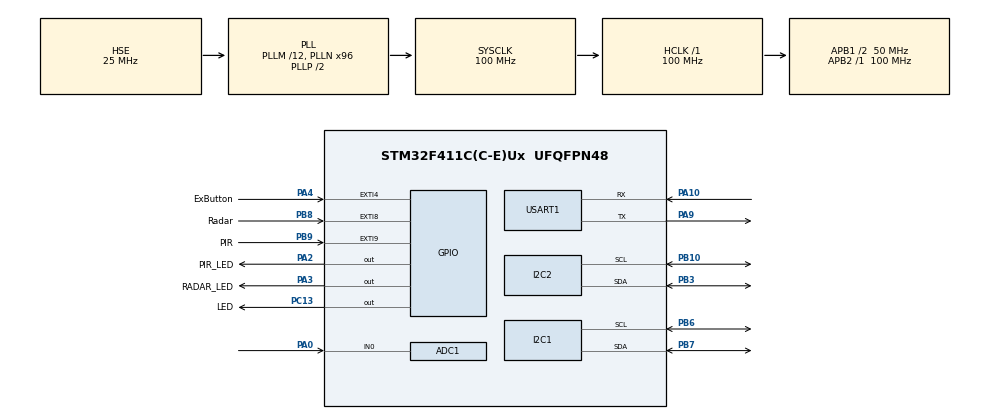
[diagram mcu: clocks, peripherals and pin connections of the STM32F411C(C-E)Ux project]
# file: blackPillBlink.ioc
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ADC1.Channel-0\#ChannelRegularConversion=ADC_CHANNEL_0
ADC1.ContinuousConvMode=DISABLE
ADC1.DMAContinuousRequests=ENABLE
ADC1.ExternalTrigConv=ADC_EXTERNALTRIGCONV_T2_TRGO
ADC1.NbrOfConversionFlag=1
ADC1.Rank-0\#ChannelRegularConversion=1
ADC1.SamplingTime-0\#ChannelRegularConversion=ADC_SAMPLETIME_3CYCLES
ADC1.ScanConvMode=DISABLE
ADC1.master=1
Dma.ADC1.0.Direction=DMA_PERIPH_TO_MEMORY
Dma.ADC1.0.FIFOMode=DMA_FIFOMODE_DISABLE
Dma.ADC1.0.Instance=DMA2_Stream0
Dma.ADC1.0.MemDataAlignment=DMA_MDATAALIGN_HALFWORD
Dma.ADC1.0.MemInc=DMA_MINC_ENABLE
Dma.ADC1.0.Mode=DMA_CIRCULAR
Dma.ADC1.0.PeriphDataAlignment=DMA_PDATAALIGN_HALFWORD
Dma.ADC1.0.PeriphInc=DMA_PINC_DISABLE
Dma.ADC1.0.Priority=DMA_PRIORITY_VERY_HIGH
Dma.Request0=ADC1
I2C1.I2C_Mode=I2C_Standard
Mcu.Family=STM32F4
Mcu.Name=STM32F411C(C-E)Ux
Mcu.Package=UFQFPN48
NVIC.DMA2_Stream0_IRQn=true\:0\:0\:false\:false\:true\:false\:true\:true
NVIC.EXTI4_IRQn=true\:0\:0\:false\:false\:true\:true\:true\:true
NVIC.EXTI9_5_IRQn=true\:0\:0\:false\:false\:true\:true\:true\:true
NVIC.PriorityGroup=NVIC_PRIORITYGROUP_4
PA0-WKUP.Signal=ADCx_IN0
PA10.Mode=Asynchronous
PA10.Signal=USART1_RX
PA2.GPIO_Label=PIR_LED
PA2.Signal=GPIO_Output
PA3.GPIO_Label=RADAR_LED
PA3.Signal=GPIO_Output
PA4.GPIO_Label=ExButton
PA4.GPIO_PuPd=GPIO_PULLDOWN
PA4.Signal=GPXTI4
PA9.Mode=Asynchronous
PA9.Signal=USART1_TX
PB10.Mode=I2C
PB10.Signal=I2C2_SCL
PB3.Mode=I2C
PB3.Signal=I2C2_SDA
PB6.Mode=I2C
PB6.Signal=I2C1_SCL
PB7.Mode=I2C
PB7.Signal=I2C1_SDA
PB8.GPIO_Label=Radar
PB8.GPIO_ModeDefaultEXTI=GPIO_MODE_IT_FALLING
PB8.GPIO_PuPd=GPIO_PULLDOWN
PB8.Signal=GPXTI8
PB9.GPIO_Label=PIR
PB9.GPIO_ModeDefaultEXTI=GPIO_MODE_IT_RISING
PB9.Signal=GPXTI9
PC13-ANTI_TAMP.GPIO_Label=LED
PC13-ANTI_TAMP.Signal=GPIO_Output
PC14-OSC32_IN.Mode=LSE-External-Oscillator
PC14-OSC32_IN.Signal=RCC_OSC32_IN
PC15-OSC32_OUT.Mode=LSE-External-Oscillator
PC15-OSC32_OUT.Signal=RCC_OSC32_OUT
PH0\ -\ OSC_IN.Mode=HSE-External-Oscillator
PH0\ -\ OSC_IN.Signal=RCC_OSC_IN
PH1\ -\ OSC_OUT.Mode=HSE-External-Oscillator
PH1\ -\ OSC_OUT.Signal=RCC_OSC_OUT
ProjectManager.HeapSize=0x200
ProjectManager.StackSize=0x400
ProjectManager.TargetToolchain=STM32CubeIDE
RCC.48MHZClocksFreq_Value=50000000
RCC.AHBFreq_Value=100000000
RCC.APB1CLKDivider=RCC_HCLK_DIV2
RCC.APB1Freq_Value=50000000
RCC.APB1TimFreq_Value=100000000
RCC.APB2Freq_Value=100000000
RCC.APB2TimFreq_Value=100000000
RCC.CortexFreq_Value=100000000
RCC.HCLKFreq_Value=100000000
RCC.HSE_VALUE=25000000
RCC.HSI_VALUE=16000000
RCC.PLLM=12
RCC.PLLN=96
RCC.PLLSourceVirtual=RCC_PLLSOURCE_HSE
RCC.RCC_RTC_Clock_Source=RCC_RTCCLKSOURCE_LSE
RCC.RCC_RTC_Clock_SourceVirtual=RCC_RTCCLKSOURCE_LSE
RCC.SYSCLKFreq_VALUE=100000000
RCC.SYSCLKSource=RCC_SYSCLKSOURCE_PLLCLK
RCC.VCOOutputFreq_Value=200000000
RTC.Date=11
RTC.Format=RTC_FORMAT_BIN
RTC.Hours=23
RTC.Minutes=59
RTC.Month=RTC_MONTH_MAY
RTC.Seconds=45
RTC.WeekDay=RTC_WEEKDAY_SATURDAY
RTC.Year=24
SH.ADCx_IN0.0=ADC1_IN0,IN0
TIM2.Channel-PWM\ Generation1\ No\ Output=TIM_CHANNEL_1
TIM2.Period=2-1
TIM2.Prescaler=2500-1
TIM2.TIM_MasterOutputTrigger=TIM_TRGO_UPDATE
USART1.VirtualMode=VM_ASYNC
VP_RTC_VS_RTC_Activate.Mode=RTC_Enabled
VP_RTC_VS_RTC_Calendar.Mode=RTC_Calendar
VP_TIM2_VS_ClockSourceINT.Mode=Internal
VP_TIM2_VS_no_output1.Mode=PWM Generation1 No Output
board=custom

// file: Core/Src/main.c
/* USER CODE BEGIN Header */
/**
  ******************************************************************************
  * @file           : main.c
  * @brief          : Main program body
  ******************************************************************************
  * @attention
  *
  * Copyright (c) 2024 STMicroelectronics.
  * All rights reserved.
  *
  * This software is licensed under terms that can be found in the LICENSE file
  * in the root directory of this software component.
  * If no LICENSE file comes with this software, it is provided AS-IS.
  *
  ******************************************************************************
  */
/* USER CODE END Header */
#include "main.h"
#include "adc.h"
#include "dma.h"
#include "i2c.h"
#include "rtc.h"
#include "tim.h"
#include "usart.h"
#include "gpio.h"

/* USER CODE BEGIN Includes */
#include <stdio.h>
#include <string.h>
#include <stdint.h>
#include <stdlib.h>

#define ARM_MATH_CM4
#include "arm_math.h"
#include "TSL2591.h"
#include "bmp280.h"

/* USER CODE END Includes */

/* USER CODE BEGIN PTD */
RTC_TimeTypeDef sTime;
RTC_DateTypeDef sDate;
/* USER CODE END PTD */

/* USER CODE BEGIN PD */
#define BUFFER_SIZE 256 // We can chnage and see, currently 51 cycles worth at 10Fs
#define FFT_BUFFER_SIZE 1024 //FFT Buffer Double Buffering
#define SAMPLE_RATE_HZ 20500 //TIMER 2 Sampling Rate change for accuracy
/* USER CODE END PD */

/* USER CODE BEGIN PV */

uint16_t adcData[BUFFER_SIZE]; // ADC Sampling Data From DMA

float fftBufIn[FFT_BUFFER_SIZE]; //FFT float buffer
float fftBufOut[FFT_BUFFER_SIZE]; //FFT float buffer, alternating Real and Imaginary

BMP280_HandleTypedef bmp280;
float pressure=32.55;
float temperature=25.45;
float humidity=64.65;

static volatile uint16_t*inBufPtr; //Will help for double buffering, as we change the address of where we need to store ADC

uint8_t dataReadyFlag=0; //set to 0 and 1 if we can process the data

uint8_t fftFlag=0; // Flag for fft completed

uint8_t fftPeakCplt=0; //Flag for peak value FFT completed
//uint16_t adcControl; // might delete, only have 1 channel

uint8_t pirDetected=0;
uint8_t radarDetected=0;

char message[128];
int len = 0;
uint8_t currentHz=0;
uint8_t wakeUp=0;
uint8_t espTransfer=2;
uint8_t RxData[20];
uint8_t buf[15] = {0};
uint8_t fftCounter=0;
uint32_t timeBefore=0;

arm_rfft_fast_instance_f32 fftHandler; //FFT handler

/* USER CODE END PV */

void SystemClock_Config(void);

/* USER CODE BEGIN 0 */

void HAL_GPIO_EXTI_Callback(uint16_t GPIO_Pin)
{
	if(GPIO_Pin == ExButton_Pin)
	{
				sprintf(message, "ButtonTest\r");
				len = strlen(message);
				HAL_UART_Transmit(&huart1 , (uint8_t*)message , len , 100);

	}

	if(GPIO_Pin == PIR_Pin)
	{
		if(wakeUp)
		{
			HAL_GPIO_WritePin(PIR_LED_GPIO_Port, PIR_LED_Pin, SET);
			pirDetected=1;

		}
		else
		{
			HAL_GPIO_WritePin(PIR_LED_GPIO_Port, PIR_LED_Pin, SET);
			wakeUp=1;
			pirDetected = 1;

			HAL_RTC_GetTime(&hrtc, &sTime, RTC_FORMAT_BIN);
			HAL_RTC_GetDate(&hrtc, &sDate, RTC_FORMAT_BIN);
			buf[14] = sDate.Date;
			buf[13] = sTime.Hours;
			buf[12] = sTime.Minutes;
			buf[11] = sTime.Seconds;
//			==========================================================
		    uint8_t triggers = 0;
		    uint8_t PIR_triggered = 1, RADAR_triggered = 0;
		    triggers = (PIR_triggered << 1) | RADAR_triggered;
		    buf[10] = triggers;
//			===============================================================
			bmp280_read_float(&bmp280, &temperature, &pressure, &humidity);
			//HAL_HalfDuplex_EnableReceiver(&huart6);

			uint8_t* temp_buf = (uint8_t*) &temperature;
			buf[9] = temp_buf[0];
			buf[8] = temp_buf[1];
			buf[7] = temp_buf[2];
			buf[6] = temp_buf[3];
//			==============================================
			uint8_t* hum_buf = (uint8_t*) &humidity;
		    buf[5] = hum_buf[0];
		    buf[4] = hum_buf[1];
		    buf[3] = hum_buf[2];
		    buf[2] = hum_buf[3];
//			==============================================
			//sprintf(message, "C");
		    uint16_t lux = 2200; //TSL2591_Read_Lux();

			HAL_UART_Transmit(&huart1 , buf , 15 , 100); //name of structure, name of message , size of message, timeout
//			wakeUp=0;

		}
	}

	if(GPIO_Pin==Radar_Pin)
	{
		fftCounter=0;
		radarDetected=1;
		fftFlag=0;
		espTransfer=0;
		wakeUp=1;
		HAL_ResumeTick();
//		__disable_irq();
		HAL_GPIO_WritePin(RADAR_LED_GPIO_Port, RADAR_LED_Pin, SET);
		timeBefore = HAL_GetTick();

		//gpio
	}

}

void HAL_ADC_ConvHalfCpltCallback(ADC_HandleTypeDef* hadc) //Half way full buffer Interrupt
{
	HAL_GPIO_WritePin(GPIOC, GPIO_PIN_13, 1); //LED on signal

	inBufPtr = &adcData[0];

	dataReadyFlag =1;
}

void HAL_ADC_ConvCpltCallback(ADC_HandleTypeDef* hadc) //Completely full buffer interrupt
{
	HAL_GPIO_WritePin(GPIOC, GPIO_PIN_13, 0); //LED off signal

	inBufPtr = &adcData[BUFFER_SIZE/2]; //Load Second half into pointer

	dataReadyFlag = 1;

}

void Process_HalfBuffer()
{

	static int16_t fftIndex =0; //We're not gonna needd since we're filling all the way

	for(uint8_t i = 0 ; i<(BUFFER_SIZE/2)-1 ; i++)
	{

		fftBufIn[fftIndex] = (float) inBufPtr[i];
		fftIndex++;

		//===================================
		//Test might delete nd stick to many multiple 512 and 256

		if(fftIndex==FFT_BUFFER_SIZE)
		{

			arm_rfft_fast_f32(&fftHandler, fftBufIn, fftBufOut, 0);

			fftFlag =1; //That we have filled our FFT buffer

			fftIndex=0;

		}
	}

}

/* USER CODE END 0 */

int main(void)
{

  /* USER CODE BEGIN 1 */
//	char message[128];
//	int len = 0;
  /* USER CODE END 1 */

  /* MCU Configuration--------------------------------------------------------*/

  /* Reset of all peripherals, Initializes the Flash interface and the Systick. */
  HAL_Init();

  /* Configure the system clock */
  SystemClock_Config();

  /* Initialize all configured peripherals */
  MX_GPIO_Init();
  MX_DMA_Init();
  MX_USART1_UART_Init();
  MX_ADC1_Init();
  MX_TIM2_Init();
  MX_I2C1_Init();
  MX_I2C2_Init();
  MX_RTC_Init();
  /* USER CODE BEGIN 2 */

  //UART==============================

  HAL_ADC_Start_DMA(&hadc1, (uint32_t *) adcData, BUFFER_SIZE);
  HAL_TIM_Base_Start(&htim2);

  arm_rfft_fast_init_f32(&fftHandler, FFT_BUFFER_SIZE);
//  DEV_ModuleInit();
//  //DEV_I2C_Init(&hi2c1);
//  TSL2591_Init();
//
//  bmp280_init_default_params(&bmp280.params);
//  bmp280.addr = BMP280_I2C_ADDRESS_0;
//  bmp280.i2c = &hi2c2;

//  while (!bmp280_init(&bmp280, &bmp280.params)) { come back too
//    		sprintf(message, "BMP280 initialization failed\n");
//    		len = strlen(message);
//    		HAL_UART_Transmit(&huart1 , (uint8_t*)message , len , 100); //name of structure, name of message , size of message, timeout
//    		HAL_Delay(2000);
//    	}
//    	bool bme280p = bmp280.id == BME280_CHIP_ID;
//    	 sprintf(message, "BMP280: found %s\n", bme280p ? "BME280" : "BMP280");
//    	 len = strlen(message);
//    	 HAL_UART_Transmit(&huart1 , (uint8_t*)message , len , 100); //name of structure, name of message , size of message, timeout

  float peakVal =0.0f;
  uint16_t peakHz=0;

  uint32_t timeAfter=0;

  uint8_t once =1;

  //__disable_irq();
  //asm("diq")

  /* USER CODE END 2 */

  /* Infinite loop */
  while (1)
  {

    /* USER CODE BEGIN 3 */

	  if(!wakeUp)
	  {
		  HAL_SuspendTick();
		  HAL_PWR_EnterSLEEPMode(PWR_MAINREGULATOR_ON, PWR_SLEEPENTRY_WFI);
	  }

	  if(dataReadyFlag) // Confirm if we have filled our half buffer
	  {
		  Process_HalfBuffer();

		  dataReadyFlag = 0;
	  }

	  if(fftFlag) //Confirm if we have filled our FFT buffer
	  {

		  // Compute absolute value of complex FFT and reset for next buffer

		  peakVal=0.0f;
		  peakHz = 0;

		  uint16_t freqIndex = 0;

		  for (uint16_t index = 2; index < FFT_BUFFER_SIZE; index+=2) //We start at 2 because of offset
		  {

			  float curVal = sqrtf((fftBufOut[index] * fftBufOut[index])+(fftBufOut[index+1] * fftBufOut[index+1]));

			  if(curVal > peakVal)
			  {
				  peakVal = curVal;
				  peakHz = (uint16_t)(freqIndex *(SAMPLE_RATE_HZ/FFT_BUFFER_SIZE));
			  }

			  freqIndex++;

		  }

		  fftFlag = 0;

		  fftPeakCplt=1;

	  }

	  if((fftPeakCplt && fftCounter<3 && radarDetected) || espTransfer==0) //Confirm if we have complete FFT
	  {

		  	  sprintf(message, "Frequency: %dHz \r", peakHz );
		  	  len = strlen(message);
		  	  HAL_UART_Transmit(&huart1 , (uint8_t*)message , len , 100); //name of structure, name of message , size of message, timeout

		  	  if(peakHz>60 )
		  	  {
		  		  espTransfer=1;
		  	  }

		  	  fftPeakCplt =0;
		  	  currentHz = peakHz;

		  	  fftCounter=fftCounter+1;
	  }

	  	  if(espTransfer==1)
	  		  	  {
//	  		  		  	  	  	  HAL_Delay(4000);
	  		  		  	  	  	  	  	HAL_RTC_GetTime(&hrtc, &sTime, RTC_FORMAT_BIN);
	  		  		  	  				HAL_RTC_GetDate(&hrtc, &sDate, RTC_FORMAT_BIN);
	  		  		  	  				buf[14] = sDate.Date;
	  		  		  	  				buf[13] = sTime.Hours;
	  		  		  	  				buf[12] = sTime.Minutes;
	  		  		  	  				buf[11] = sTime.Seconds;
	  		  		  	  	//			==========================================================
	  		  		  	  			    uint8_t triggers = 0;
	  		  		  	  			    uint8_t PIR_triggered = 1, RADAR_triggered = 0;
	  		  		  	  			    triggers = (PIR_triggered << 1) | RADAR_triggered;
	  		  		  	  			    buf[10] = triggers;
	  		  		  	  	//			===============================================================
	  		  		  	  				//bmp280_read_float(&bmp280, &temperature, &pressure, &humidity);
	  		  		  	  				//HAL_HalfDuplex_EnableReceiver(&huart6);

	  		  		  	  				uint8_t* temp_buf = (uint8_t*) &temperature;
	  		  		  	  				buf[9] = temp_buf[0];
	  		  		  	  				buf[8] = temp_buf[1];
	  		  		  	  				buf[7] = temp_buf[2];
	  		  		  	  				buf[6] = temp_buf[3];
	  		  		  	  	//			==============================================
	  		  		  	  				uint8_t* hum_buf = (uint8_t*) &humidity;
	  		  		  	  			    buf[5] = hum_buf[0];
	  		  		  	  			    buf[4] = hum_buf[1];
	  		  		  	  			    buf[3] = hum_buf[2];
	  		  		  	  			    buf[2] = hum_buf[3];
	  		  		  	  	//			==============================================
	  		  		  	  				//sprintf(message, "C");
	  		  		  	  			    uint16_t lux = 2200; //TSL2591_Read_Lux();
	  		  		  	  			    buf[1] = (lux >> 8) & 0xFF;
	  		  		  	  			    buf[0] = lux & 0xFF;

	  		  		  	  				HAL_UART_Transmit(&huart1 , buf , 15 , 100); //name of structure, name of message , size of message, timeout
	  		  		  	  				timeAfter = HAL_GetTick();

	  		  		  	  				radarDetected=0;
	  		  		  	  				espTransfer = 2;
	  		  		  	  				fftCounter=3;

	  		  		  	  				HAL_GPIO_WritePin(RADAR_LED_GPIO_Port, RADAR_LED_Pin, 0);
	  		  		  	  		  		sprintf(message, "\r%dSleeping%d",(timeAfter-timeBefore), fftCounter);
	  		  		  	  		  		len = strlen(message);
	  		  		  	  		  		HAL_UART_Transmit(&huart1 , (uint8_t*)message , len , 100);

	  		  	  }

  }

  if(fftCounter==3 && HAL_GPIO_ReadPin(Radar_GPIO_Port, Radar_Pin)==GPIO_PIN_SET)
  {
//	  __enable_irq();

  }

  if(fftCounter==3)
  	  {

//  		  HAL_GPIO_WritePin(RADAR_LED_GPIO_Port, RADAR_LED_Pin, 0);
//  		  sprintf(message, "%dSleeping",(timeAfter-timeBefore));
//  		  len = strlen(message);
//  		  HAL_UART_Transmit(&huart1 , (uint8_t*)message , len , 100); //name of structure, name of message , size of message, timeout

  		  wakeUp=0;
//  		  __enable_irq();

  	  }
  /* USER CODE END 3 */
}

void SystemClock_Config(void)
{
  RCC_OscInitTypeDef RCC_OscInitStruct = {0};
  RCC_ClkInitTypeDef RCC_ClkInitStruct = {0};

  /** Configure the main internal regulator output voltage
  */
  __HAL_RCC_PWR_CLK_ENABLE();
  __HAL_PWR_VOLTAGESCALING_CONFIG(PWR_REGULATOR_VOLTAGE_SCALE1);

  /** Initializes the RCC Oscillators according to the specified parameters
  * in the RCC_OscInitTypeDef structure.
  */
  RCC_OscInitStruct.OscillatorType = RCC_OSCILLATORTYPE_HSE|RCC_OSCILLATORTYPE_LSE;
  RCC_OscInitStruct.HSEState = RCC_HSE_ON;
  RCC_OscInitStruct.LSEState = RCC_LSE_ON;
  RCC_OscInitStruct.PLL.PLLState = RCC_PLL_ON;
  RCC_OscInitStruct.PLL.PLLSource = RCC_PLLSOURCE_HSE;
  RCC_OscInitStruct.PLL.PLLM = 12;
  RCC_OscInitStruct.PLL.PLLN = 96;
  RCC_OscInitStruct.PLL.PLLP = RCC_PLLP_DIV2;
  RCC_OscInitStruct.PLL.PLLQ = 4;
  if (HAL_RCC_OscConfig(&RCC_OscInitStruct) != HAL_OK)
  {
    Error_Handler();
  }

  /** Initializes the CPU, AHB and APB buses clocks
  */
  RCC_ClkInitStruct.ClockType = RCC_CLOCKTYPE_HCLK|RCC_CLOCKTYPE_SYSCLK
                              |RCC_CLOCKTYPE_PCLK1|RCC_CLOCKTYPE_PCLK2;
  RCC_ClkInitStruct.SYSCLKSource = RCC_SYSCLKSOURCE_PLLCLK;
  RCC_ClkInitStruct.AHBCLKDivider = RCC_SYSCLK_DIV1;
  RCC_ClkInitStruct.APB1CLKDivider = RCC_HCLK_DIV2;
  RCC_ClkInitStruct.APB2CLKDivider = RCC_HCLK_DIV1;

  if (HAL_RCC_ClockConfig(&RCC_ClkInitStruct, FLASH_LATENCY_3) != HAL_OK)
  {
    Error_Handler();
  }
}

void Error_Handler(void)
{
  __disable_irq();
  while (1)
  {
  }
}
